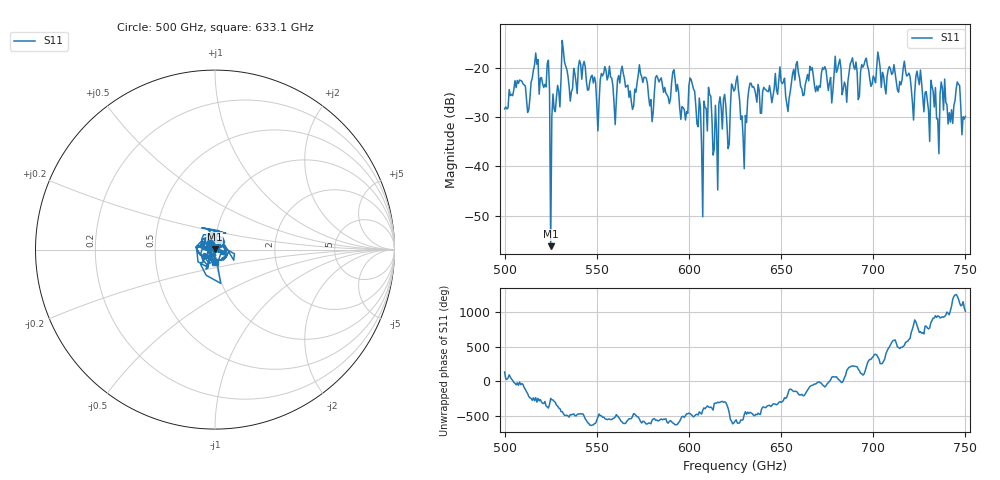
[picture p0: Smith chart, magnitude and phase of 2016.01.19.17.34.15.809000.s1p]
!Created with skrf (http://scikit-rf.org).
# GHz S RI R 50.0
!freq ReS11 ImS11
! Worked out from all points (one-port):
!   401 points, 500 GHz to 750 GHz, reference 50 ohm
!   lowest |S11| = -56.2 dB at 525 GHz (marker M1), VSWR 1.00, Z = 49.9 + j0.145 ohm
!   |S11| at or under -10 dB: start of sweep to end of sweep
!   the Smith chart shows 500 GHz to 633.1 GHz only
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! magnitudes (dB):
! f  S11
! 500 GHz  -28.3
! 513.1 GHz  -28.5
! 516.9 GHz  -16.9
! 523.1 GHz  -19.1
! 525 GHz  -56.2
! 526.2 GHz  -25.3
! 531.2 GHz  -14.4
! 550.6 GHz  -32.8
! 562.5 GHz  -23.1
! 568.8 GHz  -26.8
! 574.4 GHz  -21.8
! 579.4 GHz  -26.4
! 583.1 GHz  -22.1
! 593.8 GHz  -23.3
! 598.1 GHz  -30.6
! 601.9 GHz  -23.3
! 606.2 GHz  -28.1
! 610.6 GHz  -23.9
! 614.4 GHz  -27.6
! 625 GHz  -24.3
! 630 GHz  -40.5
! 633.8 GHz  -23.1
! 656.2 GHz  -21.1
! 687.5 GHz  -19.2
! 718.8 GHz  -21.5
! 734.4 GHz  -30.3
! 745.6 GHz  -22.8
! 750 GHz  -29.8
